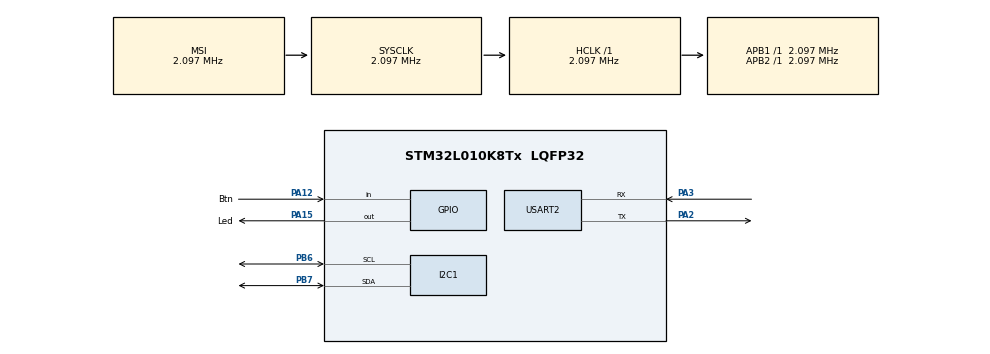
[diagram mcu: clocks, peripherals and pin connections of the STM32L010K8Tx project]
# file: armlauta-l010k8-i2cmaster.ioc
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Mcu.Family=STM32L0
Mcu.Name=STM32L010K8Tx
Mcu.Package=LQFP32
NVIC.I2C1_IRQn=true\:0\:0\:false\:false\:true\:true\:true
PA12.GPIO_Label=Btn
PA12.GPIO_PuPd=GPIO_PULLUP
PA12.Signal=GPIO_Input
PA13.Mode=Serial_Wire
PA13.Signal=SYS_SWDIO
PA14.Mode=Serial_Wire
PA14.Signal=SYS_SWCLK
PA15.GPIO_Label=Led
PA15.Signal=GPIO_Output
PA2.Mode=Asynchronous
PA2.Signal=USART2_TX
PA3.Mode=Asynchronous
PA3.Signal=USART2_RX
PB6.Mode=I2C
PB6.Signal=I2C1_SCL
PB7.Mode=I2C
PB7.Signal=I2C1_SDA
ProjectManager.HeapSize=0x200
ProjectManager.StackSize=0x400
ProjectManager.TargetToolchain=STM32CubeIDE
RCC.AHBFreq_Value=2097000
RCC.APB1Freq_Value=2097000
RCC.APB1TimFreq_Value=2097000
RCC.APB2Freq_Value=2097000
RCC.APB2TimFreq_Value=2097000
RCC.HSI16_VALUE=16000000
RCC.HSI_VALUE=16000000
RCC.LSE_VALUE=32768
RCC.MSI_VALUE=2097000
RCC.SYSCLKFreq_VALUE=2097000
RCC.VCOOutputFreq_Value=48000000
USART2.VirtualMode-Asynchronous=VM_ASYNC
board=custom

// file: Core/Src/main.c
/* USER CODE BEGIN Header */
/**
  ******************************************************************************
  * @file           : main.c
  * @brief          : Main program body
  ******************************************************************************
  * @attention
  *
  * <h2><center>&copy; Copyright (c) 2020 STMicroelectronics.
  * All rights reserved.</center></h2>
  *
  * This software component is licensed by ST under BSD 3-Clause license,
  * the "License"; You may not use this file except in compliance with the
  * License. You may obtain a copy of the License at:
  *                        opensource.org/licenses/BSD-3-Clause
  *
  ******************************************************************************
  */
/* USER CODE END Header */

#include "main.h"

/* USER CODE BEGIN PD */
#define I2C_ADDRESS 32
/* USER CODE END PD */

I2C_HandleTypeDef hi2c1;

UART_HandleTypeDef huart2;

void SystemClock_Config(void);
static void MX_GPIO_Init(void);
static void MX_I2C1_Init(void);
static void MX_USART2_UART_Init(void);

int main(void) {
  /* USER CODE BEGIN 1 */
	uint8_t txBuffer[16];
	uint8_t xrBuffer[16];
	uint8_t cnt;
  /* USER CODE END 1 */

  /* MCU Configuration--------------------------------------------------------*/

  /* Reset of all peripherals, Initializes the Flash interface and the Systick. */
  HAL_Init();

  /* Configure the system clock */
  SystemClock_Config();

  /* Initialize all configured peripherals */
  MX_GPIO_Init();
  MX_I2C1_Init();
  MX_USART2_UART_Init();

  /* Infinite loop */
  /* USER CODE BEGIN WHILE */
  	  cnt = 0;
	while (1)
	{
		while ( HAL_GPIO_ReadPin(Btn_GPIO_Port, Btn_Pin) ) {}
		HAL_Delay( 50);
		while ( !HAL_GPIO_ReadPin(Btn_GPIO_Port, Btn_Pin) ) {}

		txBuffer[0] = 9;
		txBuffer[1] = cnt++;
		do {
			HAL_GPIO_WritePin( Led_GPIO_Port, Led_Pin, 1 );
			if(HAL_I2C_Master_Transmit_IT(&hi2c1, (uint16_t)I2C_ADDRESS, (uint8_t*)txBuffer, 2)!= HAL_OK) {
				Error_Handler();
			}

			while (HAL_I2C_GetState(&hi2c1) != HAL_I2C_STATE_READY) {}

		 /* When Acknowledge failure occurs (Slave don't acknowledge it's address)
			Master restarts communication */
			HAL_GPIO_WritePin( Led_GPIO_Port, Led_Pin, 0 );
			HAL_Delay(500);
		} while(HAL_I2C_GetError(&hi2c1) == HAL_I2C_ERROR_AF);

    /* USER CODE END WHILE */

  }
}

void SystemClock_Config(void)
{
  RCC_OscInitTypeDef RCC_OscInitStruct = {0};
  RCC_ClkInitTypeDef RCC_ClkInitStruct = {0};
  RCC_PeriphCLKInitTypeDef PeriphClkInit = {0};

  /** Configure the main internal regulator output voltage
  */
  __HAL_PWR_VOLTAGESCALING_CONFIG(PWR_REGULATOR_VOLTAGE_SCALE1);
  /** Initializes the CPU, AHB and APB busses clocks
  */
  RCC_OscInitStruct.OscillatorType = RCC_OSCILLATORTYPE_MSI;
  RCC_OscInitStruct.MSIState = RCC_MSI_ON;
  RCC_OscInitStruct.MSICalibrationValue = 0;
  RCC_OscInitStruct.MSIClockRange = RCC_MSIRANGE_5;
  RCC_OscInitStruct.PLL.PLLState = RCC_PLL_NONE;
  if (HAL_RCC_OscConfig(&RCC_OscInitStruct) != HAL_OK)
  {
    Error_Handler();
  }
  /** Initializes the CPU, AHB and APB busses clocks
  */
  RCC_ClkInitStruct.ClockType = RCC_CLOCKTYPE_HCLK|RCC_CLOCKTYPE_SYSCLK
                              |RCC_CLOCKTYPE_PCLK1|RCC_CLOCKTYPE_PCLK2;
  RCC_ClkInitStruct.SYSCLKSource = RCC_SYSCLKSOURCE_MSI;
  RCC_ClkInitStruct.AHBCLKDivider = RCC_SYSCLK_DIV1;
  RCC_ClkInitStruct.APB1CLKDivider = RCC_HCLK_DIV1;
  RCC_ClkInitStruct.APB2CLKDivider = RCC_HCLK_DIV1;

  if (HAL_RCC_ClockConfig(&RCC_ClkInitStruct, FLASH_LATENCY_0) != HAL_OK)
  {
    Error_Handler();
  }
  PeriphClkInit.PeriphClockSelection = RCC_PERIPHCLK_USART2|RCC_PERIPHCLK_I2C1;
  PeriphClkInit.Usart2ClockSelection = RCC_USART2CLKSOURCE_PCLK1;
  PeriphClkInit.I2c1ClockSelection = RCC_I2C1CLKSOURCE_PCLK1;
  if (HAL_RCCEx_PeriphCLKConfig(&PeriphClkInit) != HAL_OK)
  {
    Error_Handler();
  }
}

static void MX_I2C1_Init(void)
{

  hi2c1.Instance = I2C1;
  hi2c1.Init.Timing = 0x00000708;
  hi2c1.Init.OwnAddress1 = 0;
  hi2c1.Init.AddressingMode = I2C_ADDRESSINGMODE_7BIT;
  hi2c1.Init.DualAddressMode = I2C_DUALADDRESS_DISABLE;
  hi2c1.Init.OwnAddress2 = 0;
  hi2c1.Init.OwnAddress2Masks = I2C_OA2_NOMASK;
  hi2c1.Init.GeneralCallMode = I2C_GENERALCALL_DISABLE;
  hi2c1.Init.NoStretchMode = I2C_NOSTRETCH_DISABLE;
  if (HAL_I2C_Init(&hi2c1) != HAL_OK)
  {
    Error_Handler();
  }
  /** Configure Analogue filter
  */
  if (HAL_I2CEx_ConfigAnalogFilter(&hi2c1, I2C_ANALOGFILTER_ENABLE) != HAL_OK)
  {
    Error_Handler();
  }
  /** Configure Digital filter
  */
  if (HAL_I2CEx_ConfigDigitalFilter(&hi2c1, 0) != HAL_OK)
  {
    Error_Handler();
  }

}

static void MX_USART2_UART_Init(void)
{

  huart2.Instance = USART2;
  huart2.Init.BaudRate = 115200;
  huart2.Init.WordLength = UART_WORDLENGTH_8B;
  huart2.Init.StopBits = UART_STOPBITS_1;
  huart2.Init.Parity = UART_PARITY_NONE;
  huart2.Init.Mode = UART_MODE_TX_RX;
  huart2.Init.HwFlowCtl = UART_HWCONTROL_NONE;
  huart2.Init.OverSampling = UART_OVERSAMPLING_16;
  huart2.Init.OneBitSampling = UART_ONE_BIT_SAMPLE_DISABLE;
  huart2.AdvancedInit.AdvFeatureInit = UART_ADVFEATURE_NO_INIT;
  if (HAL_UART_Init(&huart2) != HAL_OK)
  {
    Error_Handler();
  }

}

static void MX_GPIO_Init(void)
{
  GPIO_InitTypeDef GPIO_InitStruct = {0};

  /* GPIO Ports Clock Enable */
  __HAL_RCC_GPIOA_CLK_ENABLE();
  __HAL_RCC_GPIOB_CLK_ENABLE();

  /*Configure GPIO pin Output Level */
  HAL_GPIO_WritePin(Led_GPIO_Port, Led_Pin, GPIO_PIN_RESET);

  /*Configure GPIO pin : Btn_Pin */
  GPIO_InitStruct.Pin = Btn_Pin;
  GPIO_InitStruct.Mode = GPIO_MODE_INPUT;
  GPIO_InitStruct.Pull = GPIO_PULLUP;
  HAL_GPIO_Init(Btn_GPIO_Port, &GPIO_InitStruct);

  /*Configure GPIO pin : Led_Pin */
  GPIO_InitStruct.Pin = Led_Pin;
  GPIO_InitStruct.Mode = GPIO_MODE_OUTPUT_PP;
  GPIO_InitStruct.Pull = GPIO_NOPULL;
  GPIO_InitStruct.Speed = GPIO_SPEED_FREQ_LOW;
  HAL_GPIO_Init(Led_GPIO_Port, &GPIO_InitStruct);

}

void Error_Handler(void)
{
}

/************************ (C) COPYRIGHT STMicroelectronics *****END OF FILE****/
